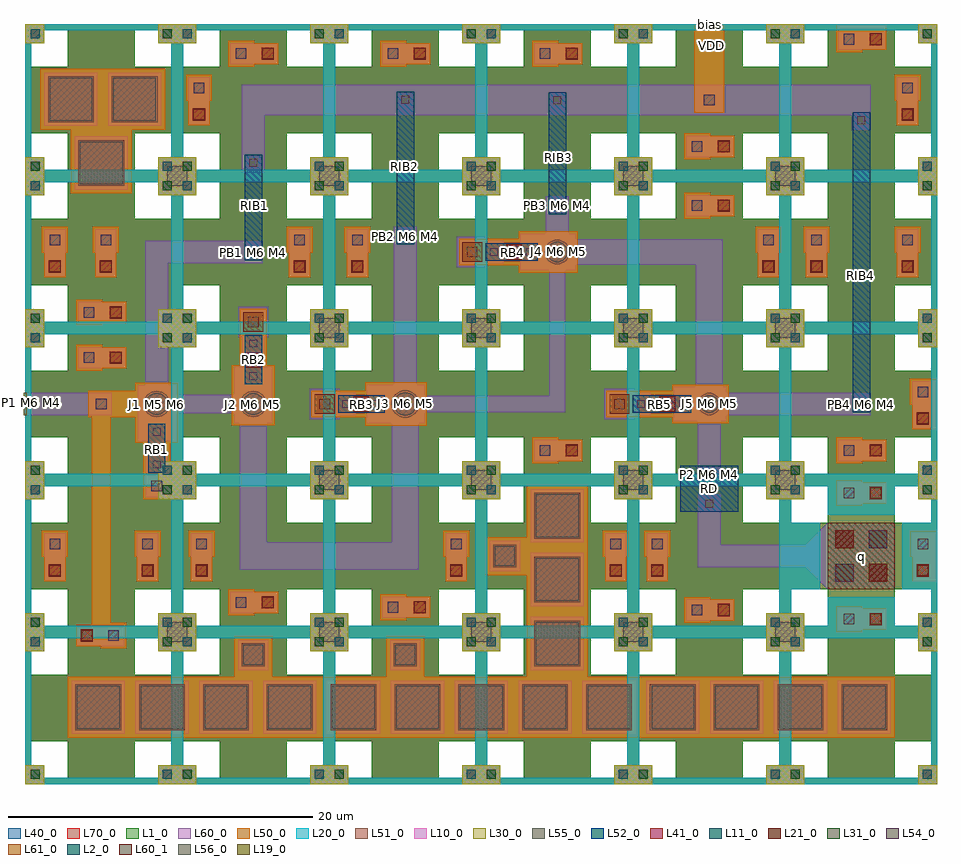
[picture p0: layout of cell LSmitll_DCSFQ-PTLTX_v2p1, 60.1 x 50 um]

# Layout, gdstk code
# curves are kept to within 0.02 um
from math import pi, radians
import gdstk
lib = gdstk.Library(unit=1e-6, precision=1e-09)
def R(c, l, rs):  # rectangles x0, y0, x1, y1
    for r in rs: c.add(gdstk.rectangle(r[:2], r[2:], *l))
def A(c, l, x, y, w, h, nx, ny, dx, dy):  # array of equal rectangles
    R(c, l, [(x+i*dx, y+j*dy, x+i*dx+w, y+j*dy+h) for i in range(nx) for j in range(ny)])
def P(c, l, *ps):  # polygons
    for p in ps: c.add(gdstk.Polygon(p, *l))
L1_0 = (1, 0)
L2_0 = (2, 0)
L10_0 = (10, 0)
L11_0 = (11, 0)
L19_0 = (19, 0)
L20_0 = (20, 0)
L21_0 = (21, 0)
L30_0 = (30, 0)
L31_0 = (31, 0)
L40_0 = (40, 0)
L41_0 = (41, 0)
L50_0 = (50, 0)
L51_0 = (51, 0)
L52_0 = (52, 0)
L54_0 = (54, 0)
L55_0 = (55, 0)
L56_0 = (56, 0)
L60_0 = (60, 0)
L60_1 = (60, 1)
L61_0 = (61, 0)
L70_0 = (70, 0)

ls_conn_m5m6m7 = lib.new_cell('ls_conn_M5M6M7')
R(ls_conn_m5m6m7, L50_0, [(-0.5,-0.5,1.2,1.2)])
R(ls_conn_m5m6m7, L54_0, [(0,0,0.7,0.7)])
R(ls_conn_m5m6m7, L60_0, [(-0.65,-0.65,1.35,1.35)])
R(ls_conn_m5m6m7, L61_0, [(-0.3,-0.3,1,1)])
R(ls_conn_m5m6m7, L70_0, [(-0.65,-0.65,1.35,1.35)])

ls_jj_200_sg = lib.new_cell('ls_jj_200_sg')
R(ls_jj_200_sg, L41_0, [(-0.5,2.325,0.5,3.325)])
R(ls_jj_200_sg, L50_0, [(-1.35,-1.35,1.35,2.525), (-0.875,2.525,0.875,6.45)])
P(ls_jj_200_sg, L51_0, [(0,-0.815),(-0.315,-0.755),(-0.58,-0.575),(-0.755,-0.31),(-0.815,0),(-0.755,0.315),(-0.58,0.58),(-0.315,0.76),(0,0.82),(0.315,0.76),(0.58,0.58),(0.755,0.315),(0.815,0),(0.755,-0.31),(0.58,-0.575),(0.315,-0.755)])
R(ls_jj_200_sg, L52_0, [(-0.575,1.275,0.575,4.7)])
P(ls_jj_200_sg, L55_0, [(0,-0.67),(-0.27,-0.62),(-0.37,-0.56),(-0.57,-0.37),(-0.67,-0.13),(-0.67,0.13),(-0.57,0.37),(-0.27,0.61),(0,0.67),(0.27,0.61),(0.47,0.47),(0.57,0.37),(0.67,0.13),(0.67,-0.13),(0.57,-0.37),(0.27,-0.62)])
R(ls_jj_200_sg, L56_0, [(-0.26,1.54,0.26,2.06), (-0.26,3.91,0.26,4.43)])
R(ls_jj_200_sg, L60_0, [(-1.2,-1.2,1.2,2.425), (-0.725,3.525,0.725,6.3)])
ls_jj_200_sg.add(gdstk.Reference(ls_conn_m5m6m7, (-0.35,5.25)))

ls_jj_225_s = lib.new_cell('ls_jj_225_s')
R(ls_jj_225_s, L50_0, [(-1.4,-1.4,1.4,2.55), (-0.875,2.55,0.875,6.275)])
P(ls_jj_225_s, L51_0, [(0,-0.865),(-0.33,-0.8),(-0.61,-0.61),(-0.8,-0.33),(-0.865,0),(-0.8,0.33),(-0.61,0.61),(-0.33,0.8),(0,0.865),(0.33,0.8),(0.61,0.61),(0.8,0.33),(0.865,0),(0.8,-0.33),(0.61,-0.61),(0.33,-0.8)])
R(ls_jj_225_s, L52_0, [(-0.575,1.3,0.575,4.525)])
R(ls_jj_225_s, L54_0, [(-0.35,5.05,0.35,5.75)])
P(ls_jj_225_s, L55_0, [(0,-0.72),(-0.27,-0.67),(-0.51,-0.51),(-0.61,-0.4),(-0.73,-0.01),(-0.61,0.39),(-0.51,0.5),(-0.27,0.66),(0,0.71),(0.27,0.66),(0.51,0.5),(0.61,0.39),(0.73,-0.01),(0.61,-0.4),(0.51,-0.51),(0.27,-0.67)])
R(ls_jj_225_s, L56_0, [(-0.26,1.57,0.26,2.09), (-0.26,3.72,0.26,4.24)])
R(ls_jj_225_s, L60_0, [(-1.25,-1.25,1.25,2.45), (-0.725,3.35,0.725,6.125)])

ls_fakejj_1p5x1p5um = lib.new_cell('ls_FakeJJ_1p5x1p5um')
R(ls_fakejj_1p5x1p5um, L40_0, [(-1.25,-1.25,1.25,1.25)])
R(ls_fakejj_1p5x1p5um, L50_0, [(-1.25,-1.25,1.25,1.25)])
R(ls_fakejj_1p5x1p5um, L51_0, [(-0.75,-0.75,0.75,0.75)])
R(ls_fakejj_1p5x1p5um, L55_0, [(-0.65,-0.65,0.65,0.65)])
R(ls_fakejj_1p5x1p5um, L60_0, [(-1,-1,1,1)])

ls_jj_162_sg = lib.new_cell('ls_jj_162_sg')
R(ls_jj_162_sg, L41_0, [(-0.5,2.25,0.5,3.25)])
R(ls_jj_162_sg, L50_0, [(-1.275,-1.275,1.275,2.425), (-0.875,2.425,0.875,6.775)])
P(ls_jj_162_sg, L51_0, [(0,-0.74),(-0.285,-0.685),(-0.52,-0.525),(-0.685,-0.285),(-0.74,0),(-0.685,0.28),(-0.52,0.52),(-0.285,0.68),(0,0.735),(0.285,0.68),(0.52,0.52),(0.685,0.28),(0.74,0),(0.685,-0.285),(0.52,-0.525),(0.285,-0.685)])
R(ls_jj_162_sg, L52_0, [(-0.575,1.175,0.575,5.025)])
R(ls_jj_162_sg, L54_0, [(-0.35,5.55,0.35,6.25)])
P(ls_jj_162_sg, L55_0, [(0,-0.59),(-0.23,-0.55),(-0.42,-0.42),(-0.54,-0.23),(-0.59,0),(-0.54,0.22),(-0.42,0.43),(-0.13,0.58),(0,0.59),(0.13,0.58),(0.42,0.43),(0.54,0.22),(0.59,0),(0.54,-0.23),(0.42,-0.42),(0.23,-0.55)])
R(ls_jj_162_sg, L56_0, [(-0.26,1.44,0.26,1.96), (-0.26,4.23,0.26,4.75)])
R(ls_jj_162_sg, L60_0, [(-1.125,-1.125,1.125,2.325), (-0.725,3.85,0.725,6.625)])
ls_jj_162_sg.add(gdstk.Reference(ls_conn_m5m6m7, (-0.35,5.55)))

ls_tr_m7 = lib.new_cell('ls_tr_M7')
P(ls_tr_m7, L70_0, [(0,0),(0,10),(1.25,10),(1.25,8.75),(0.4,8.75),(0.4,1.25),(1.25,1.25),(1.25,0.4),(2.8,0.4),(2.8,2.8),(0.4,2.8),(0.4,7.2),(2.8,7.2),(2.8,9.6),(1.25,9.6),(1.25,10),(7.2,10),(7.2,0.4),(8.75,0.4),(8.75,1.25),(9.6,1.25),(9.6,2.8),(7.2,2.8),(7.2,7.2),(9.6,7.2),(9.6,8.75),(8.75,8.75),(8.75,9.6),(7.2,9.6),(7.2,10),(10,10),(10,0)])

ls_tr_u_m4 = lib.new_cell('ls_tr_u_M4')
P(ls_tr_u_m4, L1_0, [(0,0),(0,10),(1.25,10),(1.25,8.75),(0.4,8.75),(0.4,1.25),(1.25,1.25),(1.25,0.4),(2.8,0.4),(2.8,2.8),(0.4,2.8),(0.4,7.2),(2.8,7.2),(2.8,9.6),(1.25,9.6),(1.25,10),(7.2,10),(7.2,0.4),(8.75,0.4),(8.75,1.25),(9.6,1.25),(9.6,2.8),(7.2,2.8),(7.2,7.2),(9.6,7.2),(9.6,8.75),(8.75,8.75),(8.75,9.6),(7.2,9.6),(7.2,10),(10,10),(10,0)])
R(ls_tr_u_m4, L2_0, [(9.05,0.35,9.65,0.95), (0.35,9.05,0.95,9.65)])
R(ls_tr_u_m4, L10_0, [(0,0,1.25,1.25), (8.75,0,10,1.25), (0,8.75,1.25,10), (8.75,8.75,10,10)])
R(ls_tr_u_m4, L11_0, [(0.35,0.35,0.95,0.95), (9.05,9.05,9.65,9.65)])
P(ls_tr_u_m4, L20_0, [(0,0),(0,10),(1.25,10),(1.25,8.75),(0.4,8.75),(0.4,1.25),(1.25,1.25),(1.25,0.4),(8.75,0.4),(8.75,1.25),(9.6,1.25),(9.6,8.75),(8.75,8.75),(8.75,9.6),(1.25,9.6),(1.25,10),(10,10),(10,0)])
R(ls_tr_u_m4, L21_0, [(9.05,0.35,9.65,0.95), (0.35,9.05,0.95,9.65)])
R(ls_tr_u_m4, L30_0, [(0,0,1.25,1.25), (8.75,0,10,1.25), (0,8.75,1.25,10), (8.75,8.75,10,10)])
R(ls_tr_u_m4, L31_0, [(0.35,0.35,0.95,0.95), (9.05,9.05,9.65,9.65)])
P(ls_tr_u_m4, L40_0, [(0,0),(0,10),(1.25,10),(1.25,8.75),(0.4,8.75),(0.4,1.25),(1.25,1.25),(1.25,0.4),(2.8,0.4),(2.8,2.8),(0.4,2.8),(0.4,7.2),(2.8,7.2),(2.8,9.6),(1.25,9.6),(1.25,10),(7.2,10),(7.2,0.4),(8.75,0.4),(8.75,1.25),(9.6,1.25),(9.6,2.8),(7.2,2.8),(7.2,7.2),(9.6,7.2),(9.6,8.75),(8.75,8.75),(8.75,9.6),(7.2,9.6),(7.2,10),(10,10),(10,0)])
ls_tr_u_m4.add(gdstk.Reference(ls_tr_m7, (0,0)))

ls_conn_m5m6 = lib.new_cell('ls_conn_M5M6')
R(ls_conn_m5m6, L50_0, [(0,0,1.7,1.7)])
R(ls_conn_m5m6, L54_0, [(0.5,0.5,1.2,1.2)])
R(ls_conn_m5m6, L60_0, [(0.15,0.15,1.55,1.55)])

ls_jj_250_sg = lib.new_cell('ls_jj_250_sg')
R(ls_jj_250_sg, L41_0, [(-0.5,2.4,0.5,3.4)])
R(ls_jj_250_sg, L50_0, [(-1.425,-1.425,1.425,2.625), (-0.875,2.625,0.875,6.175)])
P(ls_jj_250_sg, L51_0, [(0,-0.91),(-0.18,-0.895),(-0.35,-0.84),(-0.645,-0.645),(-0.84,-0.35),(-0.91,0),(-0.895,0.18),(-0.84,0.35),(-0.645,0.645),(-0.35,0.84),(-0.18,0.895),(0,0.91),(0.18,0.895),(0.35,0.84),(0.645,0.645),(0.84,0.35),(0.895,0.18),(0.91,0),(0.84,-0.35),(0.645,-0.645),(0.35,-0.84),(0.18,-0.895)])
R(ls_jj_250_sg, L52_0, [(-0.575,1.35,0.575,4.425)])
R(ls_jj_250_sg, L54_0, [(-0.35,4.95,0.35,5.65)])
P(ls_jj_250_sg, L55_0, [(0,-0.76),(-0.15,-0.75),(-0.29,-0.7),(-0.54,-0.54),(-0.7,-0.29),(-0.75,-0.15),(-0.76,0),(-0.75,0.15),(-0.7,0.29),(-0.54,0.54),(-0.29,0.7),(-0.15,0.75),(0,0.76),(0.15,0.75),(0.29,0.7),(0.54,0.54),(0.7,0.29),(0.75,0.15),(0.76,0),(0.75,-0.15),(0.7,-0.29),(0.54,-0.54),(0.29,-0.7),(0.15,-0.75)])
R(ls_jj_250_sg, L56_0, [(-0.26,1.64,0.26,2.16), (-0.26,3.63,0.26,4.15)])
R(ls_jj_250_sg, L60_0, [(-1.275,-1.275,1.275,2.525), (-0.725,3.25,0.725,6.025)])
ls_jj_250_sg.add(gdstk.Reference(ls_conn_m5m6m7, (-0.35,4.95)))

ls_jj_225_sg = lib.new_cell('ls_jj_225_sg')
R(ls_jj_225_sg, L41_0, [(-0.5,2.375,0.5,3.375)])
R(ls_jj_225_sg, L50_0, [(-1.4,-1.4,1.4,2.55), (-0.875,2.55,0.875,6.275)])
P(ls_jj_225_sg, L51_0, [(0,-0.865),(-0.33,-0.8),(-0.61,-0.61),(-0.8,-0.33),(-0.865,0),(-0.8,0.33),(-0.61,0.61),(-0.33,0.8),(0,0.865),(0.33,0.8),(0.61,0.61),(0.8,0.33),(0.865,0),(0.8,-0.33),(0.61,-0.61),(0.33,-0.8)])
R(ls_jj_225_sg, L52_0, [(-0.575,1.3,0.575,4.525)])
R(ls_jj_225_sg, L54_0, [(-0.35,5.05,0.35,5.75)])
P(ls_jj_225_sg, L55_0, [(0,-0.72),(-0.27,-0.67),(-0.51,-0.51),(-0.61,-0.4),(-0.73,-0.01),(-0.61,0.39),(-0.51,0.5),(-0.27,0.66),(0,0.71),(0.27,0.66),(0.51,0.5),(0.61,0.39),(0.73,-0.01),(0.61,-0.4),(0.51,-0.51),(0.27,-0.67)])
R(ls_jj_225_sg, L56_0, [(-0.26,1.57,0.26,2.09), (-0.26,3.72,0.26,4.24)])
R(ls_jj_225_sg, L60_0, [(-1.25,-1.25,1.25,2.45), (-0.725,3.35,0.725,6.125)])
ls_jj_225_sg.add(gdstk.Reference(ls_conn_m5m6m7, (-0.35,5.05)))

ls_fakejj_3umx3um = lib.new_cell('ls_FakeJJ_3umx3um')
R(ls_fakejj_3umx3um, L40_0, [(-2,-2,2,2)])
R(ls_fakejj_3umx3um, L50_0, [(-2,-2,2,2)])
R(ls_fakejj_3umx3um, L51_0, [(-1.5,-1.5,1.5,1.5)])
R(ls_fakejj_3umx3um, L55_0, [(-1.4,-1.4,1.4,1.4)])
R(ls_fakejj_3umx3um, L60_0, [(-1.75,-1.75,1.75,1.75)])

ls_conn_m4m5m6m7 = lib.new_cell('ls_conn_M4M5M6M7')
R(ls_conn_m4m5m6m7, L40_0, [(0,0,1.4,1.4)])
R(ls_conn_m4m5m6m7, L41_0, [(0.3,0.3,1.1,1.1)])
P(ls_conn_m4m5m6m7, L50_0, [(1.6,-0.15),(1.6,0),(0,0),(0,1.4),(1.6,1.4),(1.6,1.55),(3.3,1.55),(3.3,-0.15)])
R(ls_conn_m4m5m6m7, L54_0, [(2.1,0.35,2.8,1.05)])
R(ls_conn_m4m5m6m7, L60_0, [(0,0,3.15,1.4)])
R(ls_conn_m4m5m6m7, L61_0, [(0.35,0.35,1.05,1.05)])
R(ls_conn_m4m5m6m7, L70_0, [(0,0,1.4,1.4)])

ls_ib_082 = lib.new_cell('ls_ib_082')
R(ls_ib_082, L52_0, [(-0.575,0,0.575,19.75)])
R(ls_ib_082, L56_0, [(-0.26,0.29,0.26,0.81), (-0.26,18.96,0.26,19.48)])
R(ls_ib_082, L60_0, [(-0.625,-0.1,0.625,1.175), (-0.625,18.575,0.625,19.85)])

ls_ib_230 = lib.new_cell('ls_ib_230')
R(ls_ib_230, L52_0, [(-0.575,0,0.575,8.025)])
R(ls_ib_230, L56_0, [(-0.26,0.29,0.26,0.81), (-0.26,7.23,0.26,7.75)])
R(ls_ib_230, L60_0, [(-0.625,-0.1,0.625,1.175), (-0.625,6.85,0.625,8.125)])

ls_ib_275 = lib.new_cell('ls_ib_275')
R(ls_ib_275, L52_0, [(-0.575,0,0.575,6.95)])
R(ls_ib_275, L56_0, [(-0.26,0.29,0.26,0.81), (-0.26,6.16,0.26,6.68)])
R(ls_ib_275, L60_0, [(-0.625,-0.1,0.625,1.175), (-0.625,5.775,0.625,7.05)])

ls_ib_175 = lib.new_cell('ls_ib_175')
R(ls_ib_175, L52_0, [(-0.575,0,0.575,10.05)])
R(ls_ib_175, L56_0, [(-0.26,0.29,0.26,0.81), (-0.26,9.26,0.26,9.78)])
R(ls_ib_175, L60_0, [(-0.625,-0.1,0.625,1.175), (-0.625,8.875,0.625,10.15)])

ls_res_1p36 = lib.new_cell('ls_res_1p36')
R(ls_res_1p36, L52_0, [(-1.9,0,1.9,3.05)])
R(ls_res_1p36, L56_0, [(-0.26,0.29,0.26,0.81), (-0.26,2.25,0.26,2.77)])
R(ls_res_1p36, L60_0, [(-0.625,-0.1,0.625,1.175), (-0.625,1.875,0.625,3.15)])

ls_tr_ptlconnection = lib.new_cell('ls_tr_PTLconnection')
P(ls_tr_ptlconnection, L1_0, [(0,0),(0,10),(1.25,10),(1.25,8.75),(0.4,8.75),(0.4,1.25),(1.25,1.25),(1.25,0.4),(2.8,0.4),(2.8,2.8),(0.4,2.8),(0.4,7.2),(2.8,7.2),(2.8,9.6),(1.25,9.6),(1.25,10),(7.2,10),(7.2,0.4),(8.75,0.4),(8.75,1.25),(9.6,1.25),(9.6,2.8),(7.2,2.8),(7.2,7.2),(9.6,7.2),(9.6,8.75),(8.75,8.75),(8.75,9.6),(7.2,9.6),(7.2,10),(10,10),(10,0)])
R(ls_tr_ptlconnection, L2_0, [(9.05,0.35,9.65,0.95), (0.35,9.05,0.95,9.65)])
R(ls_tr_ptlconnection, L10_0, [(0,0,1.25,1.25), (8.75,0,10,1.25), (2.8,2.8,7.2,7.2), (0,8.75,1.25,10), (8.75,8.75,10,10)])
R(ls_tr_ptlconnection, L11_0, [(0.35,0.35,0.95,0.95), (3.3,3.3,4.5,4.5), (5.5,5.5,6.7,6.7), (9.05,9.05,9.65,9.65)])
R(ls_tr_ptlconnection, L20_0, [(2.8,2.8,7.2,7.2)])
P(ls_tr_ptlconnection, L20_0, [(0,0),(0,10),(7.2,10),(7.2,7.7),(2.8,7.7),(2.8,9.6),(1.25,9.6),(1.25,8.75),(0.4,8.75),(0.4,7.2),(2.3,7.2),(2.3,2.8),(0.4,2.8),(0.4,1.25),(1.25,1.25),(1.25,0.4),(2.8,0.4),(2.8,2.3),(7.2,2.3),(7.2,0.4),(8.75,0.4),(8.75,1.25),(9.6,1.25),(9.6,2.8),(7.7,2.8),(7.7,7.2),(9.6,7.2),(9.6,8.75),(8.75,8.75),(8.75,9.6),(7.2,9.6),(7.2,10),(10,10),(10,0)])
R(ls_tr_ptlconnection, L21_0, [(9.05,0.35,9.65,0.95), (5.5,3.3,6.7,4.5), (3.3,5.5,4.5,6.7), (0.35,9.05,0.95,9.65)])
R(ls_tr_ptlconnection, L30_0, [(0,0,1.25,1.25), (8.75,0,10,1.25), (2.8,2.8,7.2,7.2), (0,8.75,1.25,10), (8.75,8.75,10,10)])
R(ls_tr_ptlconnection, L31_0, [(0.35,0.35,0.95,0.95), (3.3,3.3,4.5,4.5), (5.5,5.5,6.7,6.7), (9.05,9.05,9.65,9.65)])
R(ls_tr_ptlconnection, L40_0, [(2.8,2.8,7.2,7.2)])
P(ls_tr_ptlconnection, L40_0, [(0,0),(0,10),(7.2,10),(7.2,7.7),(2.8,7.7),(2.8,9.6),(1.25,9.6),(1.25,8.75),(0.4,8.75),(0.4,7.2),(2.3,7.2),(2.3,2.8),(0.4,2.8),(0.4,1.25),(1.25,1.25),(1.25,0.4),(2.8,0.4),(2.8,2.3),(7.2,2.3),(7.2,0.4),(8.75,0.4),(8.75,1.25),(9.6,1.25),(9.6,2.8),(7.7,2.8),(7.7,7.2),(9.6,7.2),(9.6,8.75),(8.75,8.75),(8.75,9.6),(7.2,9.6),(7.2,10),(10,10),(10,0)])
R(ls_tr_ptlconnection, L41_0, [(5.5,3.3,6.7,4.5), (3.3,5.5,4.5,6.7)])
R(ls_tr_ptlconnection, L50_0, [(2.8,2.8,7.2,7.2)])
R(ls_tr_ptlconnection, L54_0, [(3.3,3.3,4.5,4.5), (5.5,5.5,6.7,6.7)])
R(ls_tr_ptlconnection, L60_0, [(2.8,2.8,7.2,7.2)])
P(ls_tr_ptlconnection, L70_0, [(0,0),(0,10),(1.25,10),(1.25,8.75),(0.4,8.75),(0.4,1.25),(1.25,1.25),(1.25,0.4),(2.8,0.4),(2.8,2.8),(0.4,2.8),(0.4,7.2),(2.8,7.2),(2.8,9.6),(1.25,9.6),(1.25,10),(7.2,10),(7.2,0.4),(8.75,0.4),(8.75,1.25),(9.6,1.25),(9.6,2.8),(7.2,2.8),(7.2,7.2),(9.6,7.2),(9.6,8.75),(8.75,8.75),(8.75,9.6),(7.2,9.6),(7.2,10),(10,10),(10,0)])

lsmitll_dcsfq_ptltx_v2p1 = lib.new_cell('LSmitll_DCSFQ-PTLTX_v2p1')
R(lsmitll_dcsfq_ptltx_v2p1, L1_0, [(7.2,17.2,9.6,22.8), (7.2,27.2,9.7,32.8)])
R(lsmitll_dcsfq_ptltx_v2p1, L19_0, [(44.74,20.15,45.26,20.67), (54.74,24.74,55.26,25.26), (14.74,34.74,15.26,35.26), (24.74,35.79,25.26,36.31), (34.74,37.79,35.26,38.31)])
R(lsmitll_dcsfq_ptltx_v2p1, L40_0, [(7.2,17.2,9.6,22.8), (7.2,27.2,9.7,32.8)])
A(lsmitll_dcsfq_ptltx_v2p1, L50_0, 6.8, 3.05, 0.2, 4, 12, 1, 4.2, 0)
A(lsmitll_dcsfq_ptltx_v2p1, L50_0, 33, 7.05, 4, 0.2, 1, 3, 0, 4.2)
R(lsmitll_dcsfq_ptltx_v2p1, L50_0, [(13.75,7.05,16.25,7.25), (23.75,7.05,26.25,7.25), (59.75,13.35,60,16.65), (32.8,13.75,33,16.25), (59.75,23.35,60,26.65), (3,42.85,7,43.05), (5,43.05,5.2,47.05), (53.35,49.7,56.65,50)])
R(lsmitll_dcsfq_ptltx_v2p1, L60_0, [(59.75,13.35,60,16.5), (59.75,23.35,60,26.5), (14.275,34.25,15.625,35.75), (53.5,49.7,56.65,50)])
P(lsmitll_dcsfq_ptltx_v2p1, L60_0, [(52.8,12.8),(50.6,15),(52.8,17.2)])
R(lsmitll_dcsfq_ptltx_v2p1, L60_1, [(52.8,12.8,57.2,17.2)])
R(lsmitll_dcsfq_ptltx_v2p1, L70_0, [(7.2,17.2,9.6,22.8), (7.2,27.2,9.7,32.8)])
lsmitll_dcsfq_ptltx_v2p1.add(gdstk.FlexPath([(15,45.75),(15,40.225)], 1.5, ends="flush", simple_path=True, layer=60, datatype=0))  # L60_0
lsmitll_dcsfq_ptltx_v2p1.add(gdstk.FlexPath([(45,19.075),(45,14.25)], 1.5, ends="flush", simple_path=True, layer=60, datatype=0))  # L60_0
lsmitll_dcsfq_ptltx_v2p1.add(gdstk.FlexPath([(51.875,15),(45,15)], 1.5, ends="flush", simple_path=True, layer=60, datatype=0))  # L60_0
lsmitll_dcsfq_ptltx_v2p1.add(gdstk.FlexPath([(45,23.9),(45,19.775)], 1.5, ends="flush", simple_path=True, layer=60, datatype=0))  # L60_0
lsmitll_dcsfq_ptltx_v2p1.add(gdstk.FlexPath([(46.125,25),(55.625,25)], 1.5, ends="flush", simple_path=True, layer=60, datatype=0))  # L60_0
lsmitll_dcsfq_ptltx_v2p1.add(gdstk.FlexPath([(45,35.85),(45,26.05)], 1.8, ends="flush", simple_path=True, layer=60, datatype=0))  # L60_0
lsmitll_dcsfq_ptltx_v2p1.add(gdstk.FlexPath([(36.025,35),(45,35)], 1.7, ends="flush", simple_path=True, layer=60, datatype=0))  # L60_0
lsmitll_dcsfq_ptltx_v2p1.add(gdstk.FlexPath([(35,36.2),(35,38.675)], 1.5, ends="flush", simple_path=True, layer=60, datatype=0))  # L60_0
lsmitll_dcsfq_ptltx_v2p1.add(gdstk.FlexPath([(14.25,45),(55.625,45)], 2, ends="flush", simple_path=True, layer=60, datatype=0))  # L60_0
lsmitll_dcsfq_ptltx_v2p1.add(gdstk.FlexPath([(35,24.45),(35,33.875)], 1.05, ends="flush", simple_path=True, layer=60, datatype=0))  # L60_0
lsmitll_dcsfq_ptltx_v2p1.add(gdstk.FlexPath([(25,26.275),(25,36.675)], 1.5, ends="flush", simple_path=True, layer=60, datatype=0))  # L60_0
lsmitll_dcsfq_ptltx_v2p1.add(gdstk.FlexPath([(8.65,26.225),(8.65,35),(14.275,35)], 1.5, ends="flush", simple_path=True, layer=60, datatype=0))  # L60_0
lsmitll_dcsfq_ptltx_v2p1.add(gdstk.FlexPath([(26.275,25),(35,25)], 1.1, ends="flush", simple_path=True, layer=60, datatype=0))  # L60_0
lsmitll_dcsfq_ptltx_v2p1.add(gdstk.FlexPath([(25,14.35),(25,23.725)], 1.8, ends="flush", simple_path=True, layer=60, datatype=0))  # L60_0
lsmitll_dcsfq_ptltx_v2p1.add(gdstk.FlexPath([(14.1,15),(25.9,15)], 1.8, ends="flush", simple_path=True, layer=60, datatype=0))  # L60_0
lsmitll_dcsfq_ptltx_v2p1.add(gdstk.FlexPath([(15,23.75),(15,14.4)], 1.8, ends="flush", simple_path=True, layer=60, datatype=0))  # L60_0
lsmitll_dcsfq_ptltx_v2p1.add(gdstk.FlexPath([(13.825,25),(9.825,25)], 1.2, ends="flush", simple_path=True, layer=60, datatype=0))  # L60_0
lsmitll_dcsfq_ptltx_v2p1.add(gdstk.FlexPath([(0,25),(5.7,25)], 1.5, ends="flush", simple_path=True, layer=60, datatype=0))  # L60_0
lsmitll_dcsfq_ptltx_v2p1.add(gdstk.FlexPath([(45,44.15),(45,50)], 2, ends="flush", simple_path=True, layer=50, datatype=0))  # L50_0
lsmitll_dcsfq_ptltx_v2p1.add(gdstk.FlexPath([(5,25.85),(5,9.925)], 1.25, ends="flush", simple_path=True, layer=50, datatype=0))  # L50_0
lsmitll_dcsfq_ptltx_v2p1.add(gdstk.FlexPath([(4.15,25),(7.325,25)], 1.75, ends="flush", simple_path=True, layer=50, datatype=0))  # L50_0
lsmitll_dcsfq_ptltx_v2p1.add(gdstk.FlexPath([(0,25.75),(0,24.25)], 0.2, ends="flush", simple_path=True, layer=19, datatype=0))  # L19_0
lsmitll_dcsfq_ptltx_v2p1.add(gdstk.Reference(ls_jj_200_sg, (35,35), rotation=pi/2))
lsmitll_dcsfq_ptltx_v2p1.add(gdstk.Reference(ls_jj_225_s, (8.65,25), rotation=pi))
lsmitll_dcsfq_ptltx_v2p1.add(gdstk.Reference(ls_fakejj_1p5x1p5um, (30,10)))
lsmitll_dcsfq_ptltx_v2p1.add(gdstk.Reference(ls_jj_162_sg, (45,25), rotation=pi/2))
lsmitll_dcsfq_ptltx_v2p1.add(gdstk.Reference(ls_tr_u_m4, (30,20)))
lsmitll_dcsfq_ptltx_v2p1.add(gdstk.Reference(ls_conn_m5m6, (4.15,24.15)))
lsmitll_dcsfq_ptltx_v2p1.add(gdstk.Reference(ls_jj_250_sg, (25,25), rotation=pi/2))
lsmitll_dcsfq_ptltx_v2p1.add(gdstk.Reference(ls_jj_225_sg, (15,25)))
lsmitll_dcsfq_ptltx_v2p1.add(gdstk.Reference(ls_tr_u_m4, (0,20)))
lsmitll_dcsfq_ptltx_v2p1.add(gdstk.Reference(ls_tr_u_m4, (10,20)))
lsmitll_dcsfq_ptltx_v2p1.add(gdstk.Reference(ls_tr_u_m4, (20,20)))
lsmitll_dcsfq_ptltx_v2p1.add(gdstk.Reference(ls_tr_u_m4, (40,20)))
lsmitll_dcsfq_ptltx_v2p1.add(gdstk.Reference(ls_tr_u_m4, (50,20)))
lsmitll_dcsfq_ptltx_v2p1.add(gdstk.Reference(ls_fakejj_3umx3um, (30,5.05)))
lsmitll_dcsfq_ptltx_v2p1.add(gdstk.Reference(ls_conn_m4m5m6m7, (59.75,23.35), rotation=pi/2))
lsmitll_dcsfq_ptltx_v2p1.add(gdstk.Reference(ls_fakejj_1p5x1p5um, (30,40)))
lsmitll_dcsfq_ptltx_v2p1.add(gdstk.Reference(ls_fakejj_1p5x1p5um, (30,30)))
lsmitll_dcsfq_ptltx_v2p1.add(gdstk.Reference(ls_fakejj_1p5x1p5um, (30,20)))
lsmitll_dcsfq_ptltx_v2p1.add(gdstk.Reference(ls_ib_082, (55,24.45)))
lsmitll_dcsfq_ptltx_v2p1.add(gdstk.Reference(ls_tr_u_m4, (50,30)))
lsmitll_dcsfq_ptltx_v2p1.add(gdstk.Reference(ls_conn_m5m6, (44.15,44.15)))
lsmitll_dcsfq_ptltx_v2p1.add(gdstk.Reference(ls_tr_u_m4, (30,40)))
lsmitll_dcsfq_ptltx_v2p1.add(gdstk.Reference(ls_conn_m4m5m6m7, (36.65,48.75), rotation=pi))
lsmitll_dcsfq_ptltx_v2p1.add(gdstk.Reference(ls_conn_m4m5m6m7, (56.65,49.7), rotation=pi))
lsmitll_dcsfq_ptltx_v2p1.add(gdstk.Reference(ls_conn_m4m5m6m7, (46.65,42.65), rotation=pi))
lsmitll_dcsfq_ptltx_v2p1.add(gdstk.Reference(ls_conn_m4m5m6m7, (46.65,38.75), rotation=pi))
lsmitll_dcsfq_ptltx_v2p1.add(gdstk.Reference(ls_conn_m4m5m6m7, (52.75,33.35), rotation=pi/2))
lsmitll_dcsfq_ptltx_v2p1.add(gdstk.Reference(ls_conn_m4m5m6m7, (49.6,33.35), rotation=pi/2))
lsmitll_dcsfq_ptltx_v2p1.add(gdstk.Reference(ls_conn_m4m5m6m7, (58.75,33.35), rotation=pi/2))
lsmitll_dcsfq_ptltx_v2p1.add(gdstk.Reference(ls_tr_u_m4, (30,30)))
lsmitll_dcsfq_ptltx_v2p1.add(gdstk.Reference(ls_conn_m4m5m6m7, (58.75,43.35), rotation=pi/2))
lsmitll_dcsfq_ptltx_v2p1.add(gdstk.Reference(ls_ib_230, (35,37.5)))
lsmitll_dcsfq_ptltx_v2p1.add(gdstk.Reference(ls_fakejj_1p5x1p5um, (40,40)))
lsmitll_dcsfq_ptltx_v2p1.add(gdstk.Reference(ls_fakejj_1p5x1p5um, (50,40)))
lsmitll_dcsfq_ptltx_v2p1.add(gdstk.Reference(ls_fakejj_1p5x1p5um, (50,30)))
lsmitll_dcsfq_ptltx_v2p1.add(gdstk.Reference(ls_fakejj_1p5x1p5um, (40,30)))
lsmitll_dcsfq_ptltx_v2p1.add(gdstk.Reference(ls_tr_u_m4, (40,30)))
lsmitll_dcsfq_ptltx_v2p1.add(gdstk.Reference(ls_tr_u_m4, (40,40)))
lsmitll_dcsfq_ptltx_v2p1.add(gdstk.Reference(ls_tr_u_m4, (50,40)))
lsmitll_dcsfq_ptltx_v2p1.add(gdstk.Reference(ls_tr_u_m4, (10,40)))
lsmitll_dcsfq_ptltx_v2p1.add(gdstk.Reference(ls_tr_u_m4, (20,40)))
lsmitll_dcsfq_ptltx_v2p1.add(gdstk.Reference(ls_conn_m4m5m6m7, (26.65,48.75), rotation=pi))
lsmitll_dcsfq_ptltx_v2p1.add(gdstk.Reference(ls_tr_u_m4, (20,30)))
lsmitll_dcsfq_ptltx_v2p1.add(gdstk.Reference(ls_ib_275, (15,34.45)))
lsmitll_dcsfq_ptltx_v2p1.add(gdstk.Reference(ls_conn_m4m5m6m7, (18.75,33.35), rotation=pi/2))
lsmitll_dcsfq_ptltx_v2p1.add(gdstk.Reference(ls_conn_m4m5m6m7, (22.55,33.35), rotation=pi/2))
lsmitll_dcsfq_ptltx_v2p1.add(gdstk.Reference(ls_conn_m4m5m6m7, (6.65,28.75), rotation=pi))
lsmitll_dcsfq_ptltx_v2p1.add(gdstk.Reference(ls_conn_m4m5m6m7, (12.125,43.35), rotation=pi/2))
lsmitll_dcsfq_ptltx_v2p1.add(gdstk.Reference(ls_conn_m4m5m6m7, (16.65,48.75), rotation=pi))
lsmitll_dcsfq_ptltx_v2p1.add(gdstk.Reference(ls_fakejj_3umx3um, (7.2,45.05)))
lsmitll_dcsfq_ptltx_v2p1.add(gdstk.Reference(ls_conn_m4m5m6m7, (2.65,33.35), rotation=pi/2))
lsmitll_dcsfq_ptltx_v2p1.add(gdstk.Reference(ls_fakejj_1p5x1p5um, (10,40)))
lsmitll_dcsfq_ptltx_v2p1.add(gdstk.Reference(ls_fakejj_1p5x1p5um, (20,40)))
lsmitll_dcsfq_ptltx_v2p1.add(gdstk.Reference(ls_fakejj_3umx3um, (5,40.85)))
lsmitll_dcsfq_ptltx_v2p1.add(gdstk.Reference(ls_conn_m4m5m6m7, (6,33.35), rotation=pi/2))
lsmitll_dcsfq_ptltx_v2p1.add(gdstk.Reference(ls_fakejj_3umx3um, (3,45.05)))
lsmitll_dcsfq_ptltx_v2p1.add(gdstk.Reference(ls_tr_u_m4, (0,40)))
lsmitll_dcsfq_ptltx_v2p1.add(gdstk.Reference(ls_tr_u_m4, (0,30)))
lsmitll_dcsfq_ptltx_v2p1.add(gdstk.Reference(ls_conn_m4m5m6m7, (6.65,31.725), rotation=pi))
lsmitll_dcsfq_ptltx_v2p1.add(gdstk.Reference(ls_fakejj_1p5x1p5um, (20,30)))
lsmitll_dcsfq_ptltx_v2p1.add(gdstk.Reference(ls_ib_175, (25,35.5)))
lsmitll_dcsfq_ptltx_v2p1.add(gdstk.Reference(ls_tr_u_m4, (10,30)))
lsmitll_dcsfq_ptltx_v2p1.add(gdstk.Reference(ls_tr_u_m4, (10,10)))
lsmitll_dcsfq_ptltx_v2p1.add(gdstk.Reference(ls_tr_u_m4, (20,10)))
lsmitll_dcsfq_ptltx_v2p1.add(gdstk.Reference(ls_fakejj_3umx3um, (9,5.05)))
lsmitll_dcsfq_ptltx_v2p1.add(gdstk.Reference(ls_fakejj_3umx3um, (4.8,5.05)))
lsmitll_dcsfq_ptltx_v2p1.add(gdstk.Reference(ls_fakejj_3umx3um, (13.2,5.05)))
lsmitll_dcsfq_ptltx_v2p1.add(gdstk.Reference(ls_fakejj_3umx3um, (17.4,5.05)))
lsmitll_dcsfq_ptltx_v2p1.add(gdstk.Reference(ls_fakejj_3umx3um, (25.8,5.05)))
lsmitll_dcsfq_ptltx_v2p1.add(gdstk.Reference(ls_conn_m4m5m6m7, (29.05,13.35), rotation=pi/2))
lsmitll_dcsfq_ptltx_v2p1.add(gdstk.Reference(ls_fakejj_1p5x1p5um, (15,8.5)))
lsmitll_dcsfq_ptltx_v2p1.add(gdstk.Reference(ls_fakejj_3umx3um, (21.6,5.05)))
lsmitll_dcsfq_ptltx_v2p1.add(gdstk.Reference(ls_tr_u_m4, (20,0)))
lsmitll_dcsfq_ptltx_v2p1.add(gdstk.Reference(ls_conn_m4m5m6m7, (12.3,13.35), rotation=pi/2))
lsmitll_dcsfq_ptltx_v2p1.add(gdstk.Reference(ls_conn_m4m5m6m7, (8.75,13.35), rotation=pi/2))
lsmitll_dcsfq_ptltx_v2p1.add(gdstk.Reference(ls_conn_m4m5m6m7, (2.65,13.35), rotation=pi/2))
lsmitll_dcsfq_ptltx_v2p1.add(gdstk.Reference(ls_fakejj_1p5x1p5um, (25,8.5)))
lsmitll_dcsfq_ptltx_v2p1.add(gdstk.Reference(ls_conn_m4m5m6m7, (3.35,9.075)))
lsmitll_dcsfq_ptltx_v2p1.add(gdstk.Reference(ls_conn_m4m5m6m7, (16.65,12.65), rotation=pi))
lsmitll_dcsfq_ptltx_v2p1.add(gdstk.Reference(ls_conn_m4m5m6m7, (26.65,12.325), rotation=pi))
lsmitll_dcsfq_ptltx_v2p1.add(gdstk.Reference(ls_tr_u_m4, (0,10)))
lsmitll_dcsfq_ptltx_v2p1.add(gdstk.Reference(ls_fakejj_1p5x1p5um, (20,20)))
lsmitll_dcsfq_ptltx_v2p1.add(gdstk.Reference(ls_tr_u_m4, (0,0)))
lsmitll_dcsfq_ptltx_v2p1.add(gdstk.Reference(ls_fakejj_1p5x1p5um, (20,10)))
lsmitll_dcsfq_ptltx_v2p1.add(gdstk.Reference(ls_fakejj_1p5x1p5um, (10,10)))
lsmitll_dcsfq_ptltx_v2p1.add(gdstk.Reference(ls_tr_u_m4, (10,0)))
lsmitll_dcsfq_ptltx_v2p1.add(gdstk.Reference(ls_conn_m4m5m6m7, (59.75,13.35), rotation=pi/2))
lsmitll_dcsfq_ptltx_v2p1.add(gdstk.Reference(ls_conn_m4m5m6m7, (42.275,13.35), rotation=pi/2))
lsmitll_dcsfq_ptltx_v2p1.add(gdstk.Reference(ls_conn_m4m5m6m7, (46.65,12.15), rotation=pi))
lsmitll_dcsfq_ptltx_v2p1.add(gdstk.Reference(ls_fakejj_3umx3um, (42.6,5.05)))
lsmitll_dcsfq_ptltx_v2p1.add(gdstk.Reference(ls_fakejj_3umx3um, (38.4,5.05)))
lsmitll_dcsfq_ptltx_v2p1.add(gdstk.Reference(ls_fakejj_3umx3um, (35,9.25)))
lsmitll_dcsfq_ptltx_v2p1.add(gdstk.Reference(ls_fakejj_3umx3um, (35,13.45)))
lsmitll_dcsfq_ptltx_v2p1.add(gdstk.Reference(ls_fakejj_3umx3um, (35,17.65)))
lsmitll_dcsfq_ptltx_v2p1.add(gdstk.Reference(ls_fakejj_1p5x1p5um, (31.55,15)))
lsmitll_dcsfq_ptltx_v2p1.add(gdstk.Reference(ls_res_1p36, (45,17.9)))
lsmitll_dcsfq_ptltx_v2p1.add(gdstk.Reference(ls_conn_m4m5m6m7, (39.55,13.35), rotation=pi/2))
lsmitll_dcsfq_ptltx_v2p1.add(gdstk.Reference(ls_fakejj_3umx3um, (34.2,5.05)))
lsmitll_dcsfq_ptltx_v2p1.add(gdstk.Reference(ls_fakejj_3umx3um, (55.2,5.05)))
lsmitll_dcsfq_ptltx_v2p1.add(gdstk.Reference(ls_tr_ptlconnection, (50,10)))
lsmitll_dcsfq_ptltx_v2p1.add(gdstk.Reference(ls_fakejj_1p5x1p5um, (40,10)))
lsmitll_dcsfq_ptltx_v2p1.add(gdstk.Reference(ls_tr_u_m4, (30,10)))
lsmitll_dcsfq_ptltx_v2p1.add(gdstk.Reference(ls_tr_u_m4, (30,0)))
lsmitll_dcsfq_ptltx_v2p1.add(gdstk.Reference(ls_tr_u_m4, (40,0)))
lsmitll_dcsfq_ptltx_v2p1.add(gdstk.Reference(ls_conn_m4m5m6m7, (36.65,22.65), rotation=pi))
lsmitll_dcsfq_ptltx_v2p1.add(gdstk.Reference(ls_conn_m4m5m6m7, (56.65,22.65), rotation=pi))
lsmitll_dcsfq_ptltx_v2p1.add(gdstk.Reference(ls_tr_u_m4, (40,10)))
lsmitll_dcsfq_ptltx_v2p1.add(gdstk.Reference(ls_tr_u_m4, (50,0)))
lsmitll_dcsfq_ptltx_v2p1.add(gdstk.Reference(ls_fakejj_3umx3um, (46.8,5.05)))
lsmitll_dcsfq_ptltx_v2p1.add(gdstk.Reference(ls_fakejj_1p5x1p5um, (40,20)))
lsmitll_dcsfq_ptltx_v2p1.add(gdstk.Reference(ls_fakejj_1p5x1p5um, (50,20)))
lsmitll_dcsfq_ptltx_v2p1.add(gdstk.Reference(ls_fakejj_1p5x1p5um, (50,10)))
lsmitll_dcsfq_ptltx_v2p1.add(gdstk.Reference(ls_fakejj_3umx3um, (51,5.05)))
lsmitll_dcsfq_ptltx_v2p1.add(gdstk.Reference(ls_conn_m4m5m6m7, (56.65,19.85), rotation=pi))
lsmitll_dcsfq_ptltx_v2p1.add(gdstk.Reference(ls_conn_m4m5m6m7, (56.65,11.55), rotation=pi))
lsmitll_dcsfq_ptltx_v2p1.add(gdstk.Label('J5 M6 M5', (45.025,25.025), layer=182, texttype=0))
lsmitll_dcsfq_ptltx_v2p1.add(gdstk.Label('J4 M6 M5', (35.1,35.05), layer=182, texttype=0))
lsmitll_dcsfq_ptltx_v2p1.add(gdstk.Label('P2 M6 M4', (45,20.375), layer=182, texttype=0))
lsmitll_dcsfq_ptltx_v2p1.add(gdstk.Label('PB4 M6 M4', (55,25), layer=182, texttype=0))
lsmitll_dcsfq_ptltx_v2p1.add(gdstk.Label('PB3 M6 M4', (35.025,38.075), layer=182, texttype=0))
lsmitll_dcsfq_ptltx_v2p1.add(gdstk.Label('J3 M6 M5', (25.025,25.025), layer=182, texttype=0))
lsmitll_dcsfq_ptltx_v2p1.add(gdstk.Label('J2 M6 M5', (14.975,25), layer=182, texttype=0))
lsmitll_dcsfq_ptltx_v2p1.add(gdstk.Label('J1 M5 M6', (8.625,25), layer=182, texttype=0))
lsmitll_dcsfq_ptltx_v2p1.add(gdstk.Label('PB2 M6 M4', (25,36.05), layer=182, texttype=0))
lsmitll_dcsfq_ptltx_v2p1.add(gdstk.Label('PB1 M6 M4', (15,35), layer=182, texttype=0))
lsmitll_dcsfq_ptltx_v2p1.add(gdstk.Label('P1 M6 M4', (0,25.125), layer=182, texttype=0))
lsmitll_dcsfq_ptltx_v2p1.add(gdstk.Label('a', (0,25.025), layer=182, texttype=0))
lsmitll_dcsfq_ptltx_v2p1.add(gdstk.Label('q', (55,15), layer=182, texttype=0))
lsmitll_dcsfq_ptltx_v2p1.add(gdstk.Label('bias', (45,50), layer=182, texttype=0))
lsmitll_dcsfq_ptltx_v2p1.add(gdstk.Label('a', (0.05,24.339), layer=60, texttype=1))
lsmitll_dcsfq_ptltx_v2p1.add(gdstk.Label('q', (55.028,14.994), layer=60, texttype=1))
lsmitll_dcsfq_ptltx_v2p1.add(gdstk.Label('RIB1', (15.05,38.04), layer=52, texttype=1))
lsmitll_dcsfq_ptltx_v2p1.add(gdstk.Label('RIB2', (24.953,40.657), layer=52, texttype=1))
lsmitll_dcsfq_ptltx_v2p1.add(gdstk.Label('RIB3', (35.089,41.209), layer=52, texttype=1))
lsmitll_dcsfq_ptltx_v2p1.add(gdstk.Label('RIB4', (54.922,33.459), layer=52, texttype=1))
lsmitll_dcsfq_ptltx_v2p1.add(gdstk.Label('RD', (45.029,19.431), layer=52, texttype=1))
lsmitll_dcsfq_ptltx_v2p1.add(gdstk.Label('RB1', (8.612,22.014), layer=52, texttype=1))
lsmitll_dcsfq_ptltx_v2p1.add(gdstk.Label('RB2', (15.024,27.932), layer=52, texttype=1))
lsmitll_dcsfq_ptltx_v2p1.add(gdstk.Label('RB3', (22.099,24.987), layer=52, texttype=1))
lsmitll_dcsfq_ptltx_v2p1.add(gdstk.Label('RB4', (32.06,34.976), layer=52, texttype=1))
lsmitll_dcsfq_ptltx_v2p1.add(gdstk.Label('RB5', (41.758,24.989), layer=52, texttype=1))
lsmitll_dcsfq_ptltx_v2p1.add(gdstk.Label('VDD', (45.176,48.58), layer=50, texttype=1))
lsmitll_dcsfq_ptltx_v2p1.add(gdstk.Label('GND', (46.564,48.55), layer=40, texttype=1))

lib.write_gds('LSmitll_DCSFQ-PTLTX_v2p1.gds')
